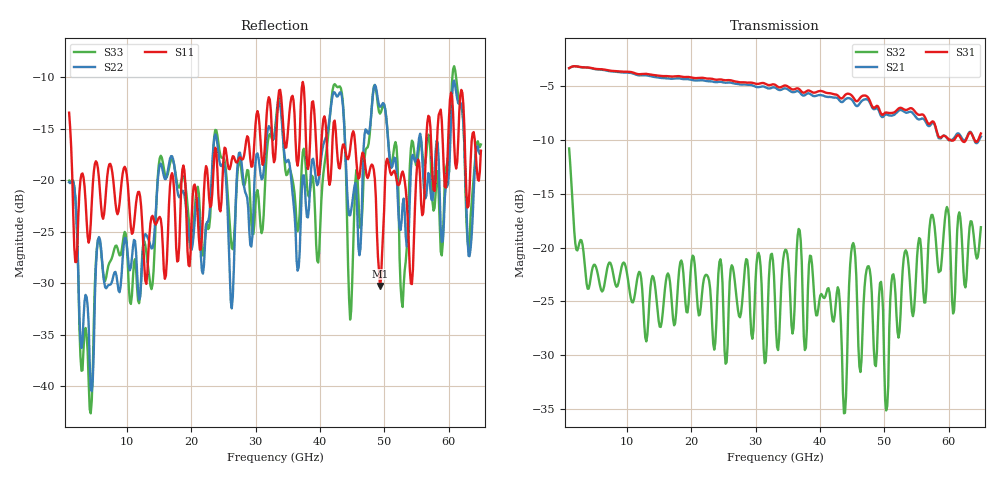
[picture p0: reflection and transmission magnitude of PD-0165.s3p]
! MARKI MICROWAVE INC.
! Email:  info@markimicrowave.com  Phone:  408-778-4200
! Model Number:  PD0165  Date:  07/11
! Filename:		PD-0165.S3P  Version: 1.0
! Description:  3-port S-parameter data for Power Divider PD0165
! Frequency Range: 	1 GHz to 65 GHz
! Port Configuration:	PORT 1: COMMON, PORT 2 and Port 3: Output
! S3P File: Measurements: Mag<S11> Ang<S11> Mag<S12> Ang<S12> Mag<S13> Ang<S13>! row 1
!  Mag<S21> Ang<S21> Mag<S22> Ang<S22> Mag<S23> Ang<S23>! row 2
!  Mag<S31> Ang<S31> Mag<S32> Ang<S32> Mag<S33> Ang<S33>! row 3
# GHz S DB R 50
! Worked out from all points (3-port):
!   400 points, 1 GHz to 65 GHz, reference 50 ohm
!   strongest paths, dB at 1 GHz, 17 GHz, 33 GHz, 49 GHz, 65 GHz:
!     S31: -3.3, -4.1, -4.9, -6.9, -9.4
!     S21: -3.3, -4.3, -5.1, -7.1, -9.7
!     S32: -10.8, -25.5, -25.0, -27.0, -18.1
!   lowest |S11| = -30.3 dB at 49.32 GHz (marker M1), VSWR 1.06, Z = 52.7 - j1.54 ohm
!   |S11| at or under -10 dB: start of sweep to end of sweep
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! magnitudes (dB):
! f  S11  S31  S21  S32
! 1 GHz  -13.5  -3.3  -3.3  -10.8
! 4.36 GHz  -24.2  -3.3  -3.3  -22.8
! 5.64 GHz  -19.8  -3.4  -3.4  -23.1
! 33 GHz  -18.0  -4.9  -5.1  -25.0
! 39.72 GHz  -19.5  -5.5  -5.8  -25.7
! 43.24 GHz  -18.1  -6.1  -6.4  -27.0
! 44.68 GHz  -17.0  -5.7  -6.1  -21.6
! 49.32 GHz  -30.3  -7.3  -7.6  -23.3
! 52.84 GHz  -19.2  -7.1  -7.3  -22.1
! 65 GHz  -17.1  -9.4  -9.7  -18.1
